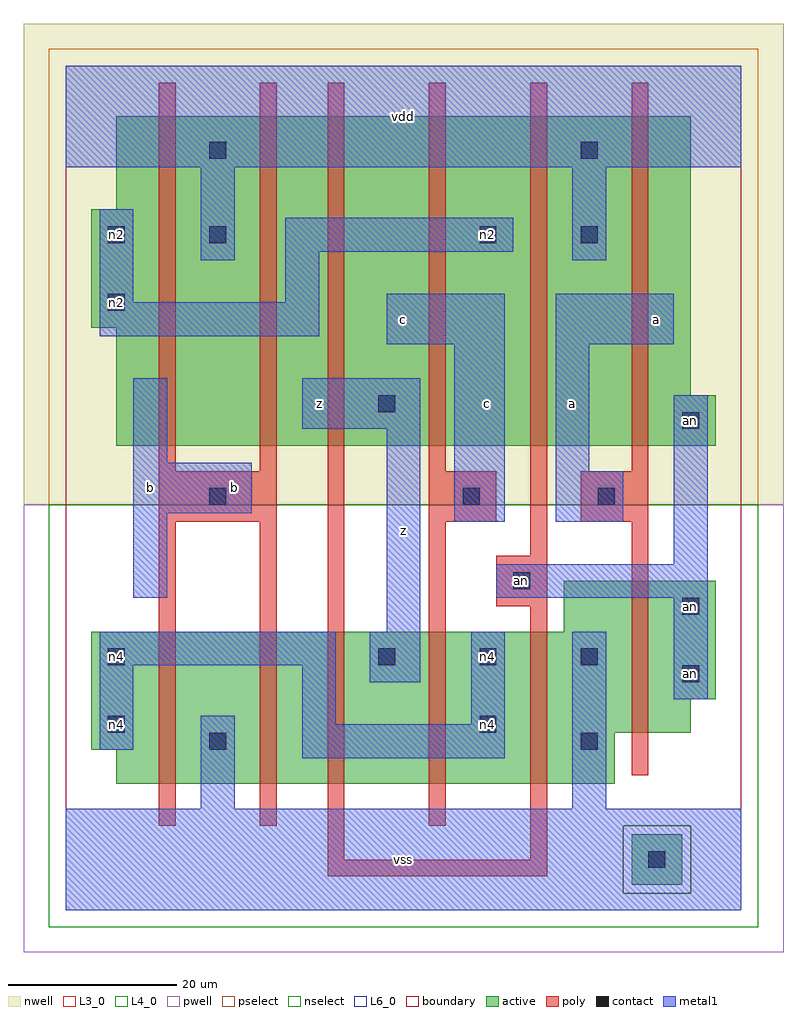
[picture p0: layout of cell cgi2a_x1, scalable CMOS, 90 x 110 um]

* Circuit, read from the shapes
.subckt cgi2a_x1 a an b c n2 n4 vdd vss z
M1 vss b n4 vss nfet w=18u l=2u
M2 n1 b vss vss nfet w=18u l=2u
M3 z an n1 vss nfet w=18u l=2u
M4 n4 c z vss nfet w=18u l=2u
M5 vss an n4 vss nfet w=18u l=2u
M6 an a vss vss nfet w=18u l=2u
M7 vdd b n2 n3 pfet w=39u l=2u
M8 n5 b vdd n3 pfet w=39u l=2u
M9 z an n5 n3 pfet w=39u l=2u
M10 n2 c z n3 pfet w=39u l=2u
M11 vdd an n2 n3 pfet w=39u l=2u
M12 an a vdd n3 pfet w=39u l=2u
.ends

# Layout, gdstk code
import gdstk
lib = gdstk.Library(unit=1e-6, precision=1e-09)
def R(c, l, rs):  # rectangles x0, y0, x1, y1
    for r in rs: c.add(gdstk.rectangle(r[:2], r[2:], *l))
def A(c, l, x, y, w, h, nx, ny, dx, dy):  # array of equal rectangles
    R(c, l, [(x+i*dx, y+j*dy, x+i*dx+w, y+j*dy+h) for i in range(nx) for j in range(ny)])
L3_0 = (3, 0)
L4_0 = (4, 0)
L6_0 = (6, 0)
contact = (25, 0)
pwell = (41, 0)
nwell = (42, 0)
active = (43, 0)
pselect = (44, 0)
nselect = (45, 0)
poly = (46, 0)
metal1 = (49, 0)
boundary = (63, 0)

cgi2a_x1 = lib.new_cell('cgi2a_x1')
R(cgi2a_x1, L3_0, [(6,15,65,19), (3,19,65,21), (3,21,74,25), (3,25,77,33), (59,33,77,39)])
R(cgi2a_x1, L4_0, [(6,55,77,61), (6,61,74,69), (3,69,74,83), (6,83,74,94)])
R(cgi2a_x1, L6_0, [(67,3,73,9)])
A(cgi2a_x1, contact, 37, 29, 2, 2, 3, 1, 12, 0)
R(cgi2a_x1, contact, [(69,5,71,7), (17,19,19,21), (61,19,63,21), (5,21,7,23), (49,21,51,23), (73,27,75,29), (5,29,7,31), (73,35,75,37), (53,38,55,40), (17,48,19,50), (47,48,49,50), (63,48,65,50), (73,57,75,59), (37,59,39,61), (5,71,7,73), (5,79,7,81), (17,79,19,81), (49,79,51,81), (61,79,63,81), (17,89,19,91), (61,89,63,91)])
R(cgi2a_x1, pwell, [(-5,-5,85,48)])
R(cgi2a_x1, nwell, [(-5,48,85,105)])
R(cgi2a_x1, active, [(67,3,73,9), (6,15,65,19), (3,19,65,21), (3,21,74,25), (3,25,77,33), (59,33,77,39), (6,55,77,61), (6,61,74,69), (3,69,74,83), (6,83,74,94)])
R(cgi2a_x1, pselect, [(66,2,74,10), (-2,48,82,102)])
R(cgi2a_x1, nselect, [(-2,-2,82,2), (-2,2,66,10), (74,2,82,10), (-2,10,82,48)])
R(cgi2a_x1, poly, [(31,4,57,6), (31,6,33,98), (55,6,57,36), (11,10,13,46), (23,10,25,46), (43,10,45,46), (67,16,69,46), (51,36,57,42), (55,42,57,98), (11,46,25,52), (43,46,51,52), (61,46,69,52), (11,52,13,98), (23,52,25,98), (43,52,45,98), (67,52,69,98)])
R(cgi2a_x1, metal1, [(0,0,80,12), (16,12,20,23), (60,12,64,33), (28,18,52,22), (4,19,8,29), (28,22,32,29), (48,22,52,33), (72,25,76,37), (36,27,42,33), (4,29,32,33), (38,33,42,57), (8,37,12,47), (51,37,76,41), (72,41,76,61), (46,46,52,67), (58,46,66,52), (8,47,22,53), (58,52,62,67), (8,53,12,63), (28,57,42,63), (38,67,52,73), (58,67,72,73), (4,68,30,72), (4,72,8,83), (26,72,30,78), (16,77,20,88), (60,77,64,88), (26,78,53,82), (0,88,80,100)])
R(cgi2a_x1, boundary, [(0,0,80,100)])
cgi2a_x1.add(gdstk.Label('n4', (6,22), layer=49, texttype=0))
cgi2a_x1.add(gdstk.Label('n4', (6,30), layer=49, texttype=0))
cgi2a_x1.add(gdstk.Label('n2', (6,72), layer=49, texttype=0))
cgi2a_x1.add(gdstk.Label('n2', (6,80), layer=49, texttype=0))
cgi2a_x1.add(gdstk.Label('n4', (50,22), layer=49, texttype=0))
cgi2a_x1.add(gdstk.Label('n4', (50,30), layer=49, texttype=0))
cgi2a_x1.add(gdstk.Label('an', (54,39), layer=49, texttype=0))
cgi2a_x1.add(gdstk.Label('n2', (50,80), layer=49, texttype=0))
cgi2a_x1.add(gdstk.Label('an', (74,28), layer=49, texttype=0))
cgi2a_x1.add(gdstk.Label('an', (74,36), layer=49, texttype=0))
cgi2a_x1.add(gdstk.Label('an', (74,58), layer=49, texttype=0))
cgi2a_x1.add(gdstk.Label('b', (10,50), layer=49, texttype=0))
cgi2a_x1.add(gdstk.Label('b', (20,50), layer=49, texttype=0))
cgi2a_x1.add(gdstk.Label('z', (30,60), layer=49, texttype=0))
cgi2a_x1.add(gdstk.Label('vss', (40,6), layer=49, texttype=0))
cgi2a_x1.add(gdstk.Label('z', (40,45), layer=49, texttype=0))
cgi2a_x1.add(gdstk.Label('c', (40,70), layer=49, texttype=0))
cgi2a_x1.add(gdstk.Label('c', (50,60), layer=49, texttype=0))
cgi2a_x1.add(gdstk.Label('vdd', (40,94), layer=49, texttype=0))
cgi2a_x1.add(gdstk.Label('a', (60,60), layer=49, texttype=0))
cgi2a_x1.add(gdstk.Label('a', (70,70), layer=49, texttype=0))

lib.write_gds('cgi2a_x1.gds')
